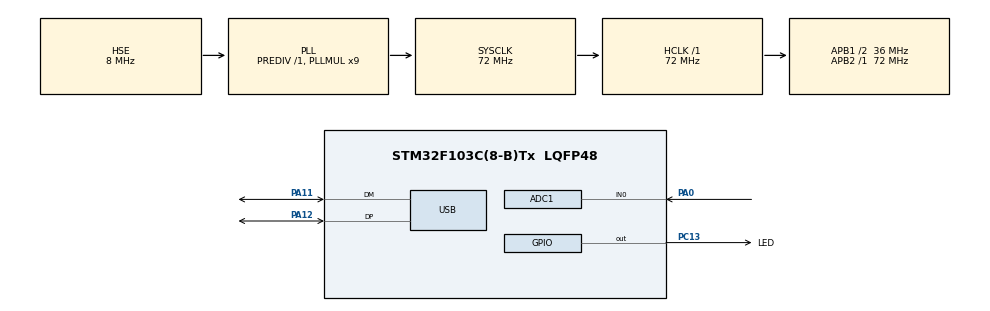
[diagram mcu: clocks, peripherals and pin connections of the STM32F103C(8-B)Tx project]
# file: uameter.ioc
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ADC1.Channel-0\#ChannelRegularConversion=ADC_CHANNEL_0
ADC1.ContinuousConvMode=DISABLE
ADC1.DataAlign=ADC_DATAALIGN_RIGHT
ADC1.DiscontinuousConvMode=DISABLE
ADC1.EnableAnalogWatchDog=false
ADC1.EnableRegularConversion=ENABLE
ADC1.ExternalTrigConv=ADC_SOFTWARE_START
ADC1.InjNumberOfConversion=0
ADC1.NbrOfConversion=1
ADC1.NbrOfConversionFlag=1
ADC1.Rank-0\#ChannelRegularConversion=1
ADC1.SamplingTime-0\#ChannelRegularConversion=ADC_SAMPLETIME_1CYCLE_5
ADC1.ScanConvMode=ADC_SCAN_DISABLE
ADC1.master=1
Mcu.Family=STM32F1
Mcu.Name=STM32F103C(8-B)Tx
Mcu.Package=LQFP48
NVIC.PriorityGroup=NVIC_PRIORITYGROUP_4
NVIC.USB_LP_CAN1_RX0_IRQn=true\:0\:0\:false\:false\:true
PA0-WKUP.Signal=ADCx_IN0
PA11.Mode=Device
PA11.Signal=USB_DM
PA12.Mode=Device
PA12.Signal=USB_DP
PA13.Mode=Serial_Wire
PA13.Signal=SYS_JTMS-SWDIO
PA14.Mode=Serial_Wire
PA14.Signal=SYS_JTCK-SWCLK
PC13-TAMPER-RTC.GPIO_Label=LED
PC13-TAMPER-RTC.Signal=GPIO_Output
PC14-OSC32_IN.Mode=LSE-External-Oscillator
PC14-OSC32_IN.Signal=RCC_OSC32_IN
PC15-OSC32_OUT.Mode=LSE-External-Oscillator
PC15-OSC32_OUT.Signal=RCC_OSC32_OUT
PD0-OSC_IN.Mode=HSE-External-Oscillator
PD0-OSC_IN.Signal=RCC_OSC_IN
PD1-OSC_OUT.Mode=HSE-External-Oscillator
PD1-OSC_OUT.Signal=RCC_OSC_OUT
ProjectManager.HeapSize=0x200
ProjectManager.StackSize=0x400
ProjectManager.TargetToolchain=EWARM
RCC.ADCPresc=RCC_ADCPCLK2_DIV6
RCC.AHBFreq_Value=72000000
RCC.APB1CLKDivider=RCC_HCLK_DIV2
RCC.APB1Freq_Value=36000000
RCC.APB1TimFreq_Value=72000000
RCC.APB2Freq_Value=72000000
RCC.APB2TimFreq_Value=72000000
RCC.HCLKFreq_Value=72000000
RCC.PLLMUL=RCC_PLL_MUL9
RCC.SYSCLKFreq_VALUE=72000000
RCC.SYSCLKSource=RCC_SYSCLKSOURCE_PLLCLK
RCC.USBFreq_Value=48000000
RCC.USBPrescaler=RCC_USBCLKSOURCE_PLL_DIV1_5
SH.ADCx_IN0.0=ADC1_IN0,IN0
USB_DEVICE.CLASS_NAME_FS=CDC
USB_DEVICE.VirtualMode=Cdc
USB_DEVICE.VirtualModeFS=Cdc_FS
VP_TIM1_VS_ClockSourceINT.Mode=Internal
VP_USB_DEVICE_VS_USB_DEVICE_CDC_FS.Mode=CDC_FS
board=uameter

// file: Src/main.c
/**
  ******************************************************************************
  * File Name          : main.c
  * Description        : Main program body
  ******************************************************************************
  * This notice applies to any and all portions of this file
  * that are not between comment pairs USER CODE BEGIN and
  * USER CODE END. Other portions of this file, whether
  * inserted by the user or by software development tools
  * are owned by their respective copyright owners.
  *
  * Copyright (c) 2017 STMicroelectronics International N.V.
  * All rights reserved.
  *
  * Redistribution and use in source and binary forms, with or without
  * modification, are permitted, provided that the following conditions are met:
  *
  * 1. Redistribution of source code must retain the above copyright notice,
  *    this list of conditions and the following disclaimer.
  * 2. Redistributions in binary form must reproduce the above copyright notice,
  *    this list of conditions and the following disclaimer in the documentation
  *    and/or other materials provided with the distribution.
  * 3. Neither the name of STMicroelectronics nor the names of other
  *    contributors to this software may be used to endorse or promote products
  *    derived from this software without specific written permission.
  * 4. This software, including modifications and/or derivative works of this
  *    software, must execute solely and exclusively on microcontroller or
  *    microprocessor devices manufactured by or for STMicroelectronics.
  * 5. Redistribution and use of this software other than as permitted under
  *    this license is void and will automatically terminate your rights under
  *    this license.
  *
  * THIS SOFTWARE IS PROVIDED BY STMICROELECTRONICS AND CONTRIBUTORS "AS IS"
  * AND ANY EXPRESS, IMPLIED OR STATUTORY WARRANTIES, INCLUDING, BUT NOT
  * LIMITED TO, THE IMPLIED WARRANTIES OF MERCHANTABILITY, FITNESS FOR A
  * PARTICULAR PURPOSE AND NON-INFRINGEMENT OF THIRD PARTY INTELLECTUAL PROPERTY
  * RIGHTS ARE DISCLAIMED TO THE FULLEST EXTENT PERMITTED BY LAW. IN NO EVENT
  * SHALL STMICROELECTRONICS OR CONTRIBUTORS BE LIABLE FOR ANY DIRECT, INDIRECT,
  * INCIDENTAL, SPECIAL, EXEMPLARY, OR CONSEQUENTIAL DAMAGES (INCLUDING, BUT NOT
  * LIMITED TO, PROCUREMENT OF SUBSTITUTE GOODS OR SERVICES; LOSS OF USE, DATA,
  * OR PROFITS; OR BUSINESS INTERRUPTION) HOWEVER CAUSED AND ON ANY THEORY OF
  * LIABILITY, WHETHER IN CONTRACT, STRICT LIABILITY, OR TORT (INCLUDING
  * NEGLIGENCE OR OTHERWISE) ARISING IN ANY WAY OUT OF THE USE OF THIS SOFTWARE,
  * EVEN IF ADVISED OF THE POSSIBILITY OF SUCH DAMAGE.
  *
  ******************************************************************************
  */
#include "main.h"
#include "stm32f1xx_hal.h"
#include "usb_device.h"

ADC_HandleTypeDef hadc1;

TIM_HandleTypeDef htim1;

/* USER CODE BEGIN PV */
/* Private variables ---------------------------------------------------------*/
uint32_t adcResult = 0;
#define adcBufLen 5
char adcBuf[adcBufLen];

/* USER CODE END PV */

void SystemClock_Config(void);
static void MX_GPIO_Init(void);
static void MX_ADC1_Init(void);
static void MX_TIM1_Init(void);

/* USER CODE BEGIN PFP */
/* Private function prototypes -----------------------------------------------*/

/* USER CODE END PFP */

int main(void)
{

  /* MCU Configuration----------------------------------------------------------*/

  /* Reset of all peripherals, Initializes the Flash interface and the Systick. */
  HAL_Init();

  /* Configure the system clock */
  SystemClock_Config();

  /* Initialize all configured peripherals */
  MX_GPIO_Init();
  MX_USB_DEVICE_Init();
  MX_ADC1_Init();
  MX_TIM1_Init();

  /* Infinite loop */
  while (1)
  {

  /* USER CODE BEGIN 3 */
    HAL_GPIO_WritePin(LED_GPIO_Port, LED_Pin, GPIO_PIN_RESET);
    HAL_ADC_Start(&hadc1);
    HAL_ADC_PollForConversion(&hadc1, 100);
    adcResult = HAL_ADC_GetValue(&hadc1);
    HAL_ADC_Stop(&hadc1);
    adcBuf[0]=adcResult/1000;
    adcResult=adcResult-adcBuf[0]*1000;
    adcBuf[1]=adcResult/100;
    adcResult=adcResult-adcBuf[1]*100;
    adcBuf[2]=adcResult/10;
    adcResult=adcResult-adcBuf[2]*10;
    adcBuf[3]=adcResult/1;
    for(int i=0; i<adcBufLen-1; i++) adcBuf[i]+=48; //convert to ascii
    adcBuf[4]='\n'; //add new line
    CDC_Transmit_FS(adcBuf, adcBufLen);
    HAL_GPIO_WritePin(LED_GPIO_Port, LED_Pin, GPIO_PIN_SET);
    for(uint32_t i=0; i<10000000; i++){};

  }
  /* USER CODE END 3 */

}

/** System Clock Configuration
*/
void SystemClock_Config(void)
{

  RCC_OscInitTypeDef RCC_OscInitStruct;
  RCC_ClkInitTypeDef RCC_ClkInitStruct;
  RCC_PeriphCLKInitTypeDef PeriphClkInit;

    /**Initializes the CPU, AHB and APB busses clocks
    */
  RCC_OscInitStruct.OscillatorType = RCC_OSCILLATORTYPE_HSE;
  RCC_OscInitStruct.HSEState = RCC_HSE_ON;
  RCC_OscInitStruct.HSEPredivValue = RCC_HSE_PREDIV_DIV1;
  RCC_OscInitStruct.HSIState = RCC_HSI_ON;
  RCC_OscInitStruct.PLL.PLLState = RCC_PLL_ON;
  RCC_OscInitStruct.PLL.PLLSource = RCC_PLLSOURCE_HSE;
  RCC_OscInitStruct.PLL.PLLMUL = RCC_PLL_MUL9;
  if (HAL_RCC_OscConfig(&RCC_OscInitStruct) != HAL_OK)
  {
    _Error_Handler(__FILE__, __LINE__);
  }

    /**Initializes the CPU, AHB and APB busses clocks
    */
  RCC_ClkInitStruct.ClockType = RCC_CLOCKTYPE_HCLK|RCC_CLOCKTYPE_SYSCLK
                              |RCC_CLOCKTYPE_PCLK1|RCC_CLOCKTYPE_PCLK2;
  RCC_ClkInitStruct.SYSCLKSource = RCC_SYSCLKSOURCE_PLLCLK;
  RCC_ClkInitStruct.AHBCLKDivider = RCC_SYSCLK_DIV1;
  RCC_ClkInitStruct.APB1CLKDivider = RCC_HCLK_DIV2;
  RCC_ClkInitStruct.APB2CLKDivider = RCC_HCLK_DIV1;

  if (HAL_RCC_ClockConfig(&RCC_ClkInitStruct, FLASH_LATENCY_2) != HAL_OK)
  {
    _Error_Handler(__FILE__, __LINE__);
  }

  PeriphClkInit.PeriphClockSelection = RCC_PERIPHCLK_ADC|RCC_PERIPHCLK_USB;
  PeriphClkInit.AdcClockSelection = RCC_ADCPCLK2_DIV6;
  PeriphClkInit.UsbClockSelection = RCC_USBCLKSOURCE_PLL_DIV1_5;
  if (HAL_RCCEx_PeriphCLKConfig(&PeriphClkInit) != HAL_OK)
  {
    _Error_Handler(__FILE__, __LINE__);
  }

    /**Configure the Systick interrupt time
    */
  HAL_SYSTICK_Config(HAL_RCC_GetHCLKFreq()/1000);

    /**Configure the Systick
    */
  HAL_SYSTICK_CLKSourceConfig(SYSTICK_CLKSOURCE_HCLK);

  /* SysTick_IRQn interrupt configuration */
  HAL_NVIC_SetPriority(SysTick_IRQn, 0, 0);
}

/* ADC1 init function */
static void MX_ADC1_Init(void)
{

  ADC_ChannelConfTypeDef sConfig;

    /**Common config
    */
  hadc1.Instance = ADC1;
  hadc1.Init.ScanConvMode = ADC_SCAN_DISABLE;
  hadc1.Init.ContinuousConvMode = DISABLE;
  hadc1.Init.DiscontinuousConvMode = DISABLE;
  hadc1.Init.ExternalTrigConv = ADC_SOFTWARE_START;
  hadc1.Init.DataAlign = ADC_DATAALIGN_RIGHT;
  hadc1.Init.NbrOfConversion = 1;
  if (HAL_ADC_Init(&hadc1) != HAL_OK)
  {
    _Error_Handler(__FILE__, __LINE__);
  }

    /**Configure Regular Channel
    */
  sConfig.Channel = ADC_CHANNEL_0;
  sConfig.Rank = 1;
  sConfig.SamplingTime = ADC_SAMPLETIME_1CYCLE_5;
  if (HAL_ADC_ConfigChannel(&hadc1, &sConfig) != HAL_OK)
  {
    _Error_Handler(__FILE__, __LINE__);
  }

}

/* TIM1 init function */
static void MX_TIM1_Init(void)
{

  TIM_ClockConfigTypeDef sClockSourceConfig;
  TIM_MasterConfigTypeDef sMasterConfig;

  htim1.Instance = TIM1;
  htim1.Init.Prescaler = 0;
  htim1.Init.CounterMode = TIM_COUNTERMODE_UP;
  htim1.Init.Period = 0;
  htim1.Init.ClockDivision = TIM_CLOCKDIVISION_DIV1;
  htim1.Init.RepetitionCounter = 0;
  htim1.Init.AutoReloadPreload = TIM_AUTORELOAD_PRELOAD_DISABLE;
  if (HAL_TIM_Base_Init(&htim1) != HAL_OK)
  {
    _Error_Handler(__FILE__, __LINE__);
  }

  sClockSourceConfig.ClockSource = TIM_CLOCKSOURCE_INTERNAL;
  if (HAL_TIM_ConfigClockSource(&htim1, &sClockSourceConfig) != HAL_OK)
  {
    _Error_Handler(__FILE__, __LINE__);
  }

  sMasterConfig.MasterOutputTrigger = TIM_TRGO_RESET;
  sMasterConfig.MasterSlaveMode = TIM_MASTERSLAVEMODE_DISABLE;
  if (HAL_TIMEx_MasterConfigSynchronization(&htim1, &sMasterConfig) != HAL_OK)
  {
    _Error_Handler(__FILE__, __LINE__);
  }

}

/** Configure pins as
        * Analog
        * Input
        * Output
        * EVENT_OUT
        * EXTI
*/
static void MX_GPIO_Init(void)
{

  GPIO_InitTypeDef GPIO_InitStruct;

  /* GPIO Ports Clock Enable */
  __HAL_RCC_GPIOC_CLK_ENABLE();
  __HAL_RCC_GPIOD_CLK_ENABLE();
  __HAL_RCC_GPIOA_CLK_ENABLE();

  /*Configure GPIO pin Output Level */
  HAL_GPIO_WritePin(LED_GPIO_Port, LED_Pin, GPIO_PIN_SET);

  /*Configure GPIO pin : LED_Pin */
  GPIO_InitStruct.Pin = LED_Pin;
  GPIO_InitStruct.Mode = GPIO_MODE_OUTPUT_PP;
  GPIO_InitStruct.Speed = GPIO_SPEED_FREQ_LOW;
  HAL_GPIO_Init(LED_GPIO_Port, &GPIO_InitStruct);

}

void _Error_Handler(char * file, int line)
{
  while(1)
  {
  }
}

/************************ (C) COPYRIGHT STMicroelectronics *****END OF FILE****/
